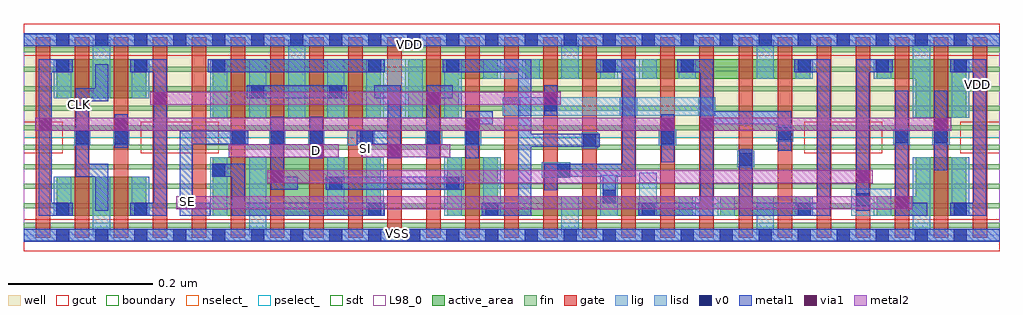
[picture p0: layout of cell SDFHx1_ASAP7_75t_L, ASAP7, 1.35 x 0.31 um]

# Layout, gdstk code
import gdstk
lib = gdstk.Library(unit=1e-6, precision=2.5e-10)
def R(c, l, rs):  # rectangles x0, y0, x1, y1
    for r in rs: c.add(gdstk.rectangle(r[:2], r[2:], *l))
def A(c, l, x, y, w, h, nx, ny, dx, dy):  # array of equal rectangles
    R(c, l, [(x+i*dx, y+j*dy, x+i*dx+w, y+j*dy+h) for i in range(nx) for j in range(ny)])
def P(c, l, *ps):  # polygons
    for p in ps: c.add(gdstk.Polygon(p, *l))
well = (1, 0)
fin = (2, 0)
gate = (7, 0)
gcut = (10, 0)
active_area = (11, 0)
nselect_ = (12, 0)
pselect_ = (13, 0)
lig = (16, 0)
lisd = (17, 0)
v0 = (18, 0)
metal1 = (19, 0)
metal2 = (20, 0)
via1 = (21, 0)
sdt = (88, 0)
L98_0 = (98, 0)
boundary = (100, 0)

sdfhx1_asap7_75t_l = lib.new_cell('SDFHx1_ASAP7_75t_L')
R(sdfhx1_asap7_75t_l, well, [(0,0.135,1.35,0.27)])
A(sdfhx1_asap7_75t_l, fin, 0, 0.01, 1.35, 0.007, 1, 10, 0, 0.027)
A(sdfhx1_asap7_75t_l, gate, 0.017, -0.0035, 0.02, 0.277, 25, 1, 0.054, 0)
R(sdfhx1_asap7_75t_l, gcut, [(0,-0.022,1.35,0.022), (0,0.113,0.054,0.157), (0.162,0.113,0.27,0.157), (1.08,0.113,1.188,0.157), (1.296,0.113,1.35,0.157), (0,0.248,1.35,0.292)])
R(sdfhx1_asap7_75t_l, active_area, [(0.046,0.027,0.17,0.081), (0.262,0.027,0.494,0.108), (0.964,0.027,1.088,0.054), (0.262,0.162,0.494,0.243), (0.046,0.189,0.17,0.243), (0.694,0.216,0.818,0.243), (0.856,0.216,1.088,0.243)])
P(sdfhx1_asap7_75t_l, active_area, [(0.532,0.162),(0.532,0.243),(0.656,0.243),(0.656,0.216),(0.602,0.216),(0.602,0.162)],
  [(0.586,0.027),(0.586,0.108),(0.656,0.108),(0.656,0.054),(0.926,0.054),(0.926,0.027)],
  [(1.234,0.162),(1.234,0.216),(1.18,0.216),(1.18,0.243),(1.304,0.243),(1.304,0.162)],
  [(1.18,0.027),(1.18,0.054),(1.234,0.054),(1.234,0.108),(1.304,0.108),(1.304,0.027)])
R(sdfhx1_asap7_75t_l, nselect_, [(0,0,1.35,0.135)])
R(sdfhx1_asap7_75t_l, pselect_, [(0,0.135,1.35,0.27)])
A(sdfhx1_asap7_75t_l, lig, 0.286, 0.124, 0.022, 0.022, 3, 1, 0.054, 0)
R(sdfhx1_asap7_75t_l, lig, [(0,-0.008,1.35,0.008), (0.717,0.079,0.756,0.101), (0.987,0.094,1.011,0.117), (0.772,0.12,0.795,0.142), (0.07,0.124,0.092,0.146), (0.124,0.124,0.146,0.146), (0.448,0.124,0.486,0.146), (0.61,0.124,0.633,0.146), (0.879,0.124,0.903,0.146), (0.556,0.125,0.579,0.146), (1.203,0.125,1.226,0.147), (1.257,0.125,1.281,0.147), (1.041,0.129,1.065,0.151), (0.663,0.165,0.687,0.191), (0.825,0.165,0.849,0.191), (0.933,0.165,0.957,0.191), (0,0.262,1.35,0.278)])
R(sdfhx1_asap7_75t_l, lisd, [(0.096,0,0.12,0.081), (0.312,0,0.336,0.108), (0.744,0,0.768,0.054), (1.014,0,1.038,0.054), (1.23,0,1.254,0.108), (0.042,0.027,0.066,0.081), (0.15,0.027,0.174,0.081), (0.258,0.027,0.282,0.108), (0.42,0.027,0.444,0.108), (0.474,0.027,0.498,0.108), (0.582,0.027,0.606,0.108), (0.636,0.027,0.66,0.108), (0.798,0.027,0.822,0.083), (0.852,0.027,0.876,0.086), (0.906,0.027,0.984,0.054), (1.068,0.027,1.092,0.054), (1.145,0.027,1.2,0.064), (1.284,0.027,1.308,0.108), (0.258,0.162,0.282,0.243), (0.312,0.162,0.336,0.243), (0.366,0.162,0.39,0.27), (0.42,0.162,0.444,0.243), (0.474,0.162,0.552,0.243), (0.582,0.162,0.606,0.243), (1.23,0.162,1.254,0.27), (1.284,0.162,1.308,0.243), (0.663,0.165,0.957,0.191), (0.042,0.189,0.066,0.243), (0.096,0.189,0.12,0.27), (0.15,0.189,0.174,0.243), (0.636,0.216,0.714,0.243), (0.744,0.216,0.768,0.27), (0.798,0.216,0.876,0.243), (0.906,0.216,0.93,0.243), (1.014,0.216,1.038,0.27), (1.068,0.216,1.092,0.243), (1.176,0.216,1.2,0.243)])
A(sdfhx1_asap7_75t_l, v0, 0.045, -0.009, 0.018, 0.018, 24, 2, 0.054, 0.27)
A(sdfhx1_asap7_75t_l, v0, 0.639, 0.027, 0.018, 0.018, 4, 1, 0.216, 0)
A(sdfhx1_asap7_75t_l, v0, 0.288, 0.126, 0.018, 0.018, 3, 1, 0.054, 0)
A(sdfhx1_asap7_75t_l, v0, 0.045, 0.225, 0.018, 0.018, 3, 1, 0.108, 0)
A(sdfhx1_asap7_75t_l, v0, 1.071, 0.225, 0.018, 0.018, 3, 1, 0.108, 0)
R(sdfhx1_asap7_75t_l, v0, [(0.045,0.027,0.063,0.045), (0.153,0.027,0.171,0.045), (0.477,0.027,0.495,0.045), (1.152,0.04,1.17,0.058), (0.801,0.045,0.819,0.063), (0.423,0.063,0.441,0.081), (0.585,0.063,0.603,0.081), (0.261,0.081,0.279,0.099), (0.738,0.081,0.756,0.099), (0.99,0.096,1.008,0.114), (0.774,0.122,0.792,0.14), (0.072,0.126,0.09,0.144), (0.126,0.126,0.144,0.144), (0.466,0.126,0.484,0.144), (0.558,0.126,0.576,0.144), (0.612,0.126,0.63,0.144), (0.882,0.126,0.9,0.144), (1.206,0.127,1.224,0.145), (1.26,0.127,1.278,0.145), (1.044,0.131,1.062,0.149), (0.72,0.171,0.738,0.189), (0.315,0.189,0.333,0.207), (0.423,0.189,0.441,0.207), (0.477,0.225,0.495,0.243), (0.585,0.225,0.603,0.243), (0.801,0.225,0.819,0.243), (0.909,0.225,0.927,0.243)])
R(sdfhx1_asap7_75t_l, metal1, [(0,-0.009,1.35,0.009), (0.418,0.063,0.609,0.081), (1.26,0.09,1.278,0.2), (0.882,0.101,0.9,0.167), (0.396,0.106,0.414,0.164), (0.126,0.121,0.144,0.167), (0.72,0.165,0.738,0.207), (0.309,0.189,0.447,0.207), (0.255,0.225,0.5,0.243), (0,0.261,1.35,0.279)])
P(sdfhx1_asap7_75t_l, metal1, [(0.558,0.106),(0.558,0.207),(0.594,0.207),(0.594,0.189),(0.576,0.189),(0.576,0.106)],
  [(1.282,0.027),(1.282,0.045),(1.314,0.045),(1.314,0.225),(1.282,0.225),(1.282,0.243),(1.332,0.243),(1.332,0.027)],
  [(1.206,0.027),(1.206,0.2),(1.224,0.2),(1.224,0.045),(1.25,0.045),(1.25,0.027)],
  [(1.152,0.034),(1.152,0.243),(1.202,0.243),(1.202,0.225),(1.17,0.225),(1.17,0.034)],
  [(0.99,0.027),(0.99,0.119),(1.008,0.119),(1.008,0.045),(1.098,0.045),(1.098,0.225),(1.066,0.225),(1.066,0.243),(1.116,0.243),(1.116,0.027)],
  [(0.85,0.027),(0.85,0.045),(0.936,0.045),(0.936,0.225),(0.904,0.225),(0.904,0.243),(0.954,0.243),(0.954,0.171),(1.062,0.171),(1.062,0.117),(1.044,0.117),(1.044,0.153),(0.954,0.153),(0.954,0.027)],
  [(0.801,0.045),(0.801,0.081),(0.738,0.081),(0.738,0.062),(0.72,0.062),(0.72,0.099),(0.828,0.099),(0.828,0.225),(0.792,0.225),(0.792,0.243),(0.846,0.243),(0.846,0.081),(0.819,0.081),(0.819,0.045)],
  [(0.634,0.027),(0.634,0.045),(0.684,0.045),(0.684,0.225),(0.58,0.225),(0.58,0.243),(0.702,0.243),(0.702,0.14),(0.797,0.14),(0.797,0.122),(0.702,0.122),(0.702,0.027)],
  [(0.612,0.106),(0.612,0.171),(0.649,0.171),(0.649,0.153),(0.63,0.153),(0.63,0.106)],
  [(0.504,0.106),(0.504,0.126),(0.461,0.126),(0.461,0.144),(0.504,0.144),(0.504,0.189),(0.485,0.189),(0.485,0.207),(0.522,0.207),(0.522,0.106)],
  [(0.288,0.027),(0.288,0.081),(0.261,0.081),(0.261,0.099),(0.306,0.099),(0.306,0.045),(0.5,0.045),(0.5,0.027)],
  [(0.342,0.063),(0.342,0.164),(0.36,0.164),(0.36,0.081),(0.379,0.081),(0.379,0.063)],
  [(0.216,0.027),(0.216,0.144),(0.311,0.144),(0.311,0.126),(0.234,0.126),(0.234,0.045),(0.258,0.045),(0.258,0.027)],
  [(0.148,0.027),(0.148,0.045),(0.18,0.045),(0.18,0.225),(0.148,0.225),(0.148,0.243),(0.198,0.243),(0.198,0.027)],
  [(0.099,0.034),(0.099,0.081),(0.072,0.081),(0.072,0.203),(0.099,0.203),(0.099,0.236),(0.117,0.236),(0.117,0.185),(0.09,0.185),(0.09,0.099),(0.117,0.099),(0.117,0.034)],
  [(0.021,0.027),(0.021,0.243),(0.068,0.243),(0.068,0.225),(0.039,0.225),(0.039,0.045),(0.068,0.045),(0.068,0.027)])
R(sdfhx1_asap7_75t_l, metal2, [(0.211,0.036,1.229,0.054), (0.337,0.072,1.175,0.09), (0.284,0.108,0.436,0.126), (0.467,0.108,0.59,0.126), (0.016,0.144,0.9,0.162), (0.936,0.144,1.283,0.162), (0.175,0.18,0.743,0.198)])
R(sdfhx1_asap7_75t_l, via1, [(0.216,0.036,0.234,0.054), (1.206,0.036,1.224,0.054), (0.342,0.072,0.36,0.09), (1.152,0.072,1.17,0.09), (0.396,0.108,0.414,0.126), (0.504,0.108,0.522,0.126), (0.021,0.144,0.039,0.162), (0.126,0.144,0.144,0.162), (0.612,0.144,0.63,0.162), (0.882,0.144,0.9,0.162), (0.936,0.144,0.954,0.162), (1.26,0.144,1.278,0.162), (0.18,0.18,0.198,0.198), (0.558,0.18,0.576,0.198), (0.72,0.18,0.738,0.198)])
A(sdfhx1_asap7_75t_l, sdt, 0.042, 0.027, 0.024, 0.054, 3, 2, 0.054, 0.162)
A(sdfhx1_asap7_75t_l, sdt, 0.744, 0.027, 0.024, 0.027, 7, 1, 0.054, 0)
A(sdfhx1_asap7_75t_l, sdt, 0.258, 0.162, 0.024, 0.081, 7, 1, 0.054, 0)
A(sdfhx1_asap7_75t_l, sdt, 0.636, 0.216, 0.024, 0.027, 6, 1, 0.054, 0)
R(sdfhx1_asap7_75t_l, sdt, [(0.258,0.027,0.282,0.108), (0.312,0.027,0.336,0.108), (0.42,0.027,0.444,0.108), (0.474,0.027,0.498,0.108), (0.582,0.027,0.606,0.108), (0.636,0.027,0.66,0.108), (1.176,0.027,1.2,0.054), (1.23,0.027,1.254,0.108), (1.284,0.027,1.308,0.108), (1.23,0.162,1.254,0.243), (1.284,0.162,1.308,0.243), (1.014,0.216,1.038,0.243), (1.068,0.216,1.092,0.243), (1.176,0.216,1.2,0.243)])
R(sdfhx1_asap7_75t_l, L98_0, [(0,0,1.35,0.27)])
R(sdfhx1_asap7_75t_l, boundary, [(0,0,1.35,0.27)])
sdfhx1_asap7_75t_l.add(gdstk.Label('VDD', (1.319,0.209), layer=1, texttype=251))
sdfhx1_asap7_75t_l.add(gdstk.Label('CLK', (0.078,0.18), layer=19, texttype=251))
sdfhx1_asap7_75t_l.add(gdstk.Label('QN', (1.32,0.223), layer=19, texttype=251))
sdfhx1_asap7_75t_l.add(gdstk.Label('VDD', (0.534,0.264), layer=19, texttype=251))
sdfhx1_asap7_75t_l.add(gdstk.Label('VSS', (0.518,0.002), layer=19, texttype=251))
sdfhx1_asap7_75t_l.add(gdstk.Label('VSS', (1.388,0.208), layer=3, texttype=251))
sdfhx1_asap7_75t_l.add(gdstk.Label('SI', (0.473,0.12), layer=20, texttype=251))
sdfhx1_asap7_75t_l.add(gdstk.Label('D', (0.405,0.117), layer=20, texttype=251))
sdfhx1_asap7_75t_l.add(gdstk.Label('SE', (0.227,0.046), layer=20, texttype=251))

lib.write_gds('SDFHx1_ASAP7_75t_L.gds')
